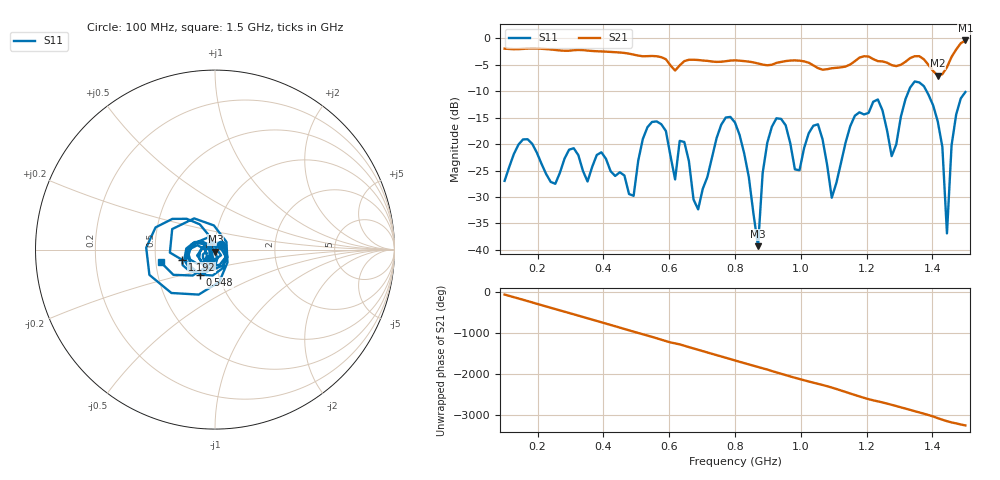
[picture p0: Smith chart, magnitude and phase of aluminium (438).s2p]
! NanoVNA-App
! Date: 2025-09-25 14:58:41
! Start: 100MHz Stop: 1,5GHz Points: 101
! S-Parameter data: F S11 S21 S12 S22
# Hz S RI R 50
!  Frequency  S11_Real  S11_Imag  S21_Real  S21_Imag  S12_Real  S12_Imag  S22_Real  S22_Imag
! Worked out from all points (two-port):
!   101 points, 100 MHz to 1.5 GHz, reference 50 ohm
!   highest |S21| = -0.37 dB at 1.5 GHz (marker M1); lowest = -7.0 dB at 1.416 GHz (marker M2)
!   |S21| within 3 dB of the highest: start of sweep to 563 MHz; 1.459 GHz to end of sweep (the widest 2 of 4)
!   lowest |S11| = -39.3 dB at 870 MHz (marker M3), VSWR 1.02, Z = 50.2 - j1.06 ohm
!   |S11| at or under -10 dB: start of sweep to 1.328 GHz; 1.382 GHz to end of sweep
!   S12 and S22 are empty: the file has one direction only
!   S11 on the Smith chart (normalised r, x): 100 MHz: 1.07, +0.06; 548 MHz: 0.82, -0.24; 1.192 GHz: 0.69, -0.08; 1.5 GHz: 0.53, -0.08
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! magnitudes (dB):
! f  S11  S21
! 100 MHz  -27.0  -1.9
! 156 MHz  -19.1  -2.0
! 338 MHz  -25.1  -2.2
! 492 MHz  -29.8  -3.1
! 548 MHz  -15.8  -3.3
! 576 MHz  -16.2  -3.5
! 646 MHz  -19.6  -4.3
! 688 MHz  -32.4  -4.1
! 800 MHz  -15.9  -4.1
! 870 MHz  -39.3  -4.7
! 912 MHz  -16.7  -5.0
! 996 MHz  -25.0  -4.2
! 1.038 GHz  -16.5  -5.1
! 1.094 GHz  -30.1  -5.6
! 1.192 GHz  -14.4  -3.4
! 1.234 GHz  -11.6  -4.3
! 1.276 GHz  -22.3  -5.0
! 1.346 GHz  -8.1  -3.4
! 1.416 GHz  -15.7  -7.0
! 1.444 GHz  -36.9  -5.4
! 1.458 GHz  -20.2  -3.5
! 1.5 GHz  -10.1  -0.4
